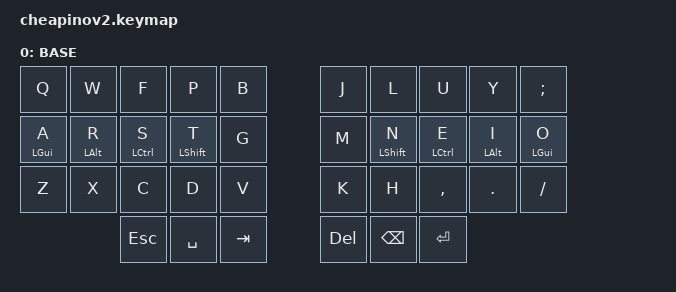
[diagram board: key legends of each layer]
//     ___ _                      _
//    / __\ |___  ___  __ _ _ __ (_)_ ___  ____
//   / /  | '_  \/ _ \/ _` | '_ \| | '_  \/ _  \
//  / /___| | | |  __/ (_| | |_) | | | | | (_) |
//  \____/|_| |_|\___|\__,_| .__/|_|_| |_|\___/
//                         |_|

#include <behaviors.dtsi>
#include <dt-bindings/zmk/keys.h>

#define BASE 0

&mt {
  quick-tap-ms = <150>;
  global-quick-tap;
  flavor = "tap-preferred";
  tapping-term-ms = <250>;
  require-prior-idle-ms = <150>;
  hold-trigger-on-release;
};

&caps_word {
    continue-list = <UNDERSCORE MINUS BACKSPACE>;
};

/ {
        keymap {
                compatible = "zmk,keymap";
        BASE {
          bindings = <
          &kp Q &kp W &kp F &kp P &kp B &kp J &kp L &kp U &kp Y &kp SEMICOLON
          &mt LEFT_GUI A &mt LEFT_ALT R &mt LEFT_CONTROL S &mt LEFT_SHIFT T &kp G &kp M &mt LEFT_SHIFT N &mt LEFT_CONTROL E &mt LEFT_ALT I &mt LEFT_GUI O
          &kp Z &kp X &kp C &kp D &kp V &kp K &kp H &kp COMMA &kp DOT &kp SLASH
          &kp ESCAPE &kp SPACE &kp TAB &kp DELETE &kp BACKSPACE &kp ENTER
          >;
        };
    };
};
